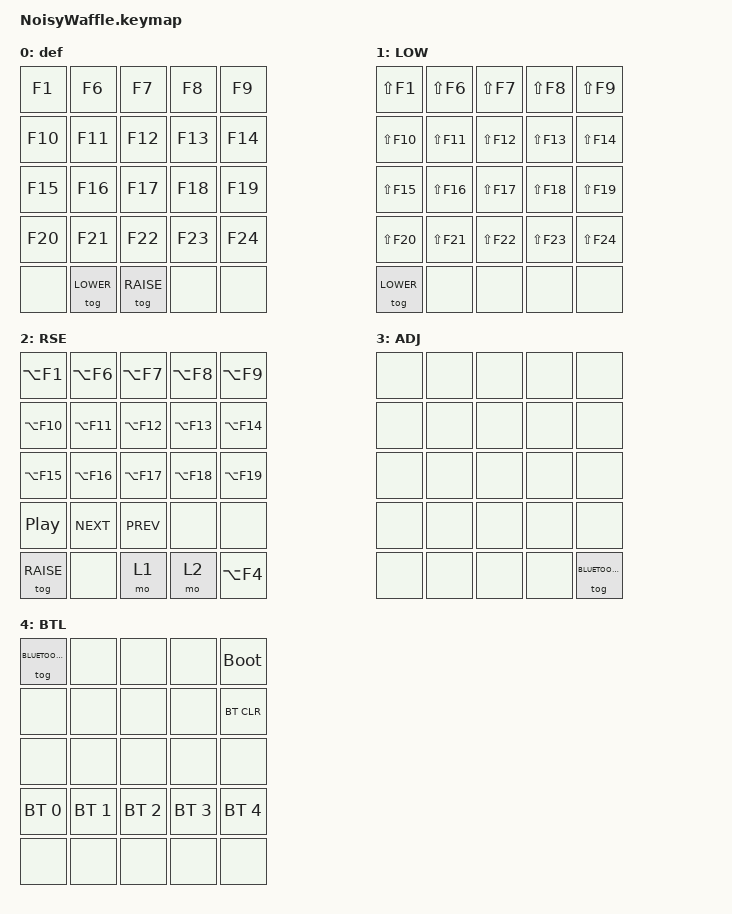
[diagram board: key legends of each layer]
/*
 * Copyright (c) 2022 The ZMK Contributors
 *
 * SPDX-License-Identifier: MIT
 */

#include <behaviors.dtsi>
#include <dt-bindings/zmk/keys.h>
#include <dt-bindings/zmk/bt.h>
#include <dt-bindings/zmk/outputs.h>

#define DEFAULT 0
#define LOWER 1
#define RAISE 2
#define ADJUST 3
#define BLUETOOTH 4

/ {
    conditional_layers {
        compatible = "zmk,conditional-layers";
        adjust_layer {
            if-layers = <1 2>;
            then-layer = <3>;
        };
    };
};
/ {
    keymap {
        compatible = "zmk,keymap";

        default_layer {
            display-name
                         = "def";
            bindings = <
               &kp F1     &kp F6        &kp F7        &kp F8      &kp F9
               &kp F10    &kp F11       &kp F12       &kp F13     &kp F14     
               &kp F15    &kp F16       &kp F17       &kp F18     &kp F19     
               &kp F20    &kp F21       &kp F22       &kp F23     &kp F24
               &none    &tog LOWER       &tog RAISE     &none     &none
               
            >;
        };
        lower_layer {
            display-name
                         = "LOW";
            bindings = <
               &kp LS(F1)     &kp LS(F6)        &kp LS(F7)        &kp LS(F8)      &kp LS(F9)
               &kp LS(F10)    &kp LS(F11)       &kp LS(F12)       &kp LS(F13)     &kp LS(F14)     
               &kp LS(F15)    &kp LS(F16)       &kp LS(F17)       &kp LS(F18)     &kp LS(F19)     
               &kp LS(F20)    &kp LS(F21)       &kp LS(F22)       &kp LS(F23)     &kp LS(F24)
               &tog LOWER  &none       &none     &none     &none
               
            >;
        };
        raise_layer {
            display-name
                         = "RSE";
            bindings = <
               &kp LA(F1)     &kp LA(F6)        &kp LA(F7)        &kp LA(F8)      &kp LA(F9)
               &kp LA(F10)    &kp LA(F11)       &kp LA(F12)       &kp LA(F13)     &kp LA(F14)     
               &kp LA(F15)    &kp LA(F16)       &kp LA(F17)       &kp LA(F18)     &kp LA(F19)     
               &kp C_PP     &kp C_NEXT       &kp C_PREV     &none     &none
               &tog RAISE  &none       &mo 1     &mo 2     &kp LA(F4)
               
            >;
        };
        adjust_layer {
            display-name
                         = "ADJ";
            bindings = <
               &none     &none       &none     &none     &none
               &none     &none       &none     &none     &none
               &none     &none       &none     &none     &none
               &none     &none       &none     &none     &none
               &none  &none       &none     &none     &tog BLUETOOTH
               
            >;
        };
        bt_layer {
            display-name
                         = "BTL";
            bindings = <
               &tog BLUETOOTH     &none       &none    &none    &bootloader
               &none    &none       &none     &none     &bt BT_CLR
               &none    &none       &none     &none     &none
               &bt BT_SEL 0   &bt BT_SEL 1      &bt BT_SEL 2     &bt BT_SEL 3     &bt BT_SEL 4
               &none    &none       &none     &none     &none
               
            >;
        };
    };
};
